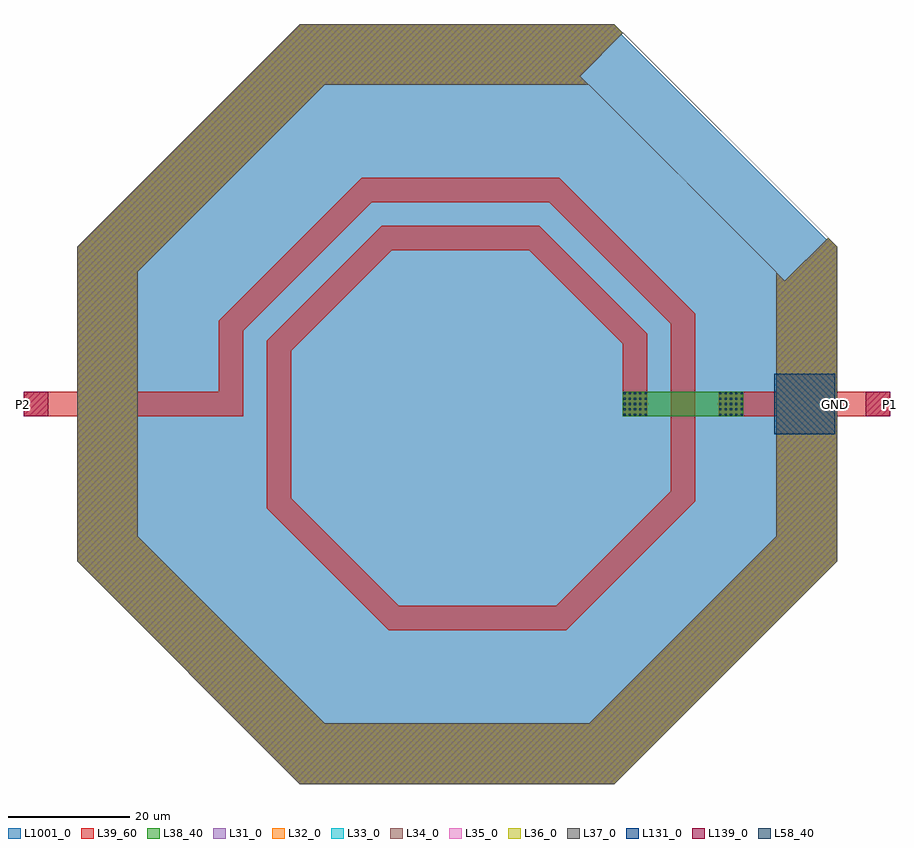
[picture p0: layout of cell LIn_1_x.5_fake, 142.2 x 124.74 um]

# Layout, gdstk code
import gdstk
lib = gdstk.Library(unit=1e-6, precision=1e-09)
def R(c, l, rs):  # rectangles x0, y0, x1, y1
    for r in rs: c.add(gdstk.rectangle(r[:2], r[2:], *l))
def A(c, l, x, y, w, h, nx, ny, dx, dy):  # array of equal rectangles
    R(c, l, [(x+i*dx, y+j*dy, x+i*dx+w, y+j*dy+h) for i in range(nx) for j in range(ny)])
def P(c, l, *ps):  # polygons
    for p in ps: c.add(gdstk.Polygon(p, *l))
L31_0 = (31, 0)
L32_0 = (32, 0)
L33_0 = (33, 0)
L34_0 = (34, 0)
L35_0 = (35, 0)
L36_0 = (36, 0)
L37_0 = (37, 0)
L38_40 = (38, 40)
L39_60 = (39, 60)
L58_40 = (58, 40)
L131_0 = (131, 0)
L139_0 = (139, 0)
L1001_0 = (1001, 0)

lin_1_x_5_fake = lib.new_cell('LIn_1_x.5_fake')
P(lin_1_x_5_fake, L31_0, [(53.836,20.228),(60.907,27.299),(25.835,62.371),(-25.835,62.371),(-62.371,25.835),(-62.371,-25.835),(-25.835,-62.371),(25.835,-62.371),(62.371,-25.835),(62.371,25.835),(27.299,60.907),(20.228,53.836),(52.371,21.693),(52.371,-21.693),(21.693,-52.371),(-21.693,-52.371),(-52.371,-21.693),(-52.371,21.693),(-21.693,52.371),(21.693,52.371)])
P(lin_1_x_5_fake, L32_0, [(53.836,20.228),(60.907,27.299),(25.835,62.371),(-25.835,62.371),(-62.371,25.835),(-62.371,-25.835),(-25.835,-62.371),(25.835,-62.371),(62.371,-25.835),(62.371,25.835),(27.299,60.907),(20.228,53.836),(52.371,21.693),(52.371,-21.693),(21.693,-52.371),(-21.693,-52.371),(-52.371,-21.693),(-52.371,21.693),(-21.693,52.371),(21.693,52.371)])
P(lin_1_x_5_fake, L33_0, [(53.836,20.228),(60.907,27.299),(25.835,62.371),(-25.835,62.371),(-62.371,25.835),(-62.371,-25.835),(-25.835,-62.371),(25.835,-62.371),(62.371,-25.835),(62.371,25.835),(27.299,60.907),(20.228,53.836),(52.371,21.693),(52.371,-21.693),(21.693,-52.371),(-21.693,-52.371),(-52.371,-21.693),(-52.371,21.693),(-21.693,52.371),(21.693,52.371)])
P(lin_1_x_5_fake, L34_0, [(53.836,20.228),(60.907,27.299),(25.835,62.371),(-25.835,62.371),(-62.371,25.835),(-62.371,-25.835),(-25.835,-62.371),(25.835,-62.371),(62.371,-25.835),(62.371,25.835),(27.299,60.907),(20.228,53.836),(52.371,21.693),(52.371,-21.693),(21.693,-52.371),(-21.693,-52.371),(-52.371,-21.693),(-52.371,21.693),(-21.693,52.371),(21.693,52.371)])
P(lin_1_x_5_fake, L35_0, [(53.836,20.228),(60.907,27.299),(25.835,62.371),(-25.835,62.371),(-62.371,25.835),(-62.371,-25.835),(-25.835,-62.371),(25.835,-62.371),(62.371,-25.835),(62.371,25.835),(27.299,60.907),(20.228,53.836),(52.371,21.693),(52.371,-21.693),(21.693,-52.371),(-21.693,-52.371),(-52.371,-21.693),(-52.371,21.693),(-21.693,52.371),(21.693,52.371)])
P(lin_1_x_5_fake, L36_0, [(53.836,20.228),(60.907,27.299),(25.835,62.371),(-25.835,62.371),(-62.371,25.835),(-62.371,-25.835),(-25.835,-62.371),(25.835,-62.371),(62.371,-25.835),(62.371,25.835),(27.299,60.907),(20.228,53.836),(52.371,21.693),(52.371,-21.693),(21.693,-52.371),(-21.693,-52.371),(-52.371,-21.693),(-52.371,21.693),(-21.693,52.371),(21.693,52.371)])
P(lin_1_x_5_fake, L37_0, [(53.836,20.228),(60.907,27.299),(25.835,62.371),(-25.835,62.371),(-62.371,25.835),(-62.371,-25.835),(-25.835,-62.371),(25.835,-62.371),(62.371,-25.835),(62.371,25.835),(27.299,60.907),(20.228,53.836),(52.371,21.693),(52.371,-21.693),(21.693,-52.371),(-21.693,-52.371),(-52.371,-21.693),(-52.371,21.693),(-21.693,52.371),(21.693,52.371)])
R(lin_1_x_5_fake, L38_40, [(27.225,-2,46.975,2)])
P(lin_1_x_5_fake, L38_40, [(53.836,20.228),(60.907,27.299),(25.835,62.371),(-25.835,62.371),(-62.371,25.835),(-62.371,-25.835),(-25.835,-62.371),(25.835,-62.371),(62.371,-25.835),(62.371,25.835),(27.299,60.907),(20.228,53.836),(52.371,21.693),(52.371,-21.693),(21.693,-52.371),(-21.693,-52.371),(-52.371,-21.693),(-52.371,21.693),(-21.693,52.371),(21.693,52.371)])
R(lin_1_x_5_fake, L39_60, [(-71.1,-2,-35.1,2), (42.975,-2,71.1,2)])
P(lin_1_x_5_fake, L39_60, [(27.225,-2),(31.225,-2),(31.225,11.544),(13.508,29.255),(-12.358,29.255),(-31.225,10.388),(-31.225,-17.108),(-11.203,-37.13),(17.923,-37.13),(39.1,-15.959),(39.1,14.803),(16.773,37.13),(-15.618,37.13),(-39.1,13.648),(-39.1,0),(-35.1,0),(-35.1,11.992),(-13.962,33.13),(15.117,33.13),(35.1,13.147),(35.1,-14.301),(16.267,-33.13),(-9.547,-33.13),(-27.225,-15.452),(-27.225,8.732),(-10.702,25.255),(11.852,25.255),(27.225,9.886)],
  [(53.836,20.228),(60.907,27.299),(25.835,62.371),(-25.835,62.371),(-62.371,25.835),(-62.371,-25.835),(-25.835,-62.371),(25.835,-62.371),(62.371,-25.835),(62.371,25.835),(27.299,60.907),(20.228,53.836),(52.371,21.693),(52.371,-21.693),(21.693,-52.371),(-21.693,-52.371),(-52.371,-21.693),(-52.371,21.693),(-21.693,52.371),(21.693,52.371)])
A(lin_1_x_5_fake, L58_40, 27.308, -1.915, 0.35, 0.35, 5, 5, 0.87, 0.87)
A(lin_1_x_5_fake, L58_40, 43.058, -1.915, 0.35, 0.35, 5, 5, 0.87, 0.87)
R(lin_1_x_5_fake, L131_0, [(52.1,-5,62.1,5)])
R(lin_1_x_5_fake, L139_0, [(-71.1,-2,-67.1,2), (67.1,-2,71.1,2)])
P(lin_1_x_5_fake, L1001_0, [(61.991,25.677),(25.677,61.991),(-25.677,61.991),(-61.991,25.677),(-61.991,-25.677),(-25.677,-61.991),(25.677,-61.991),(61.991,-25.677)],
  [(61.991,25.677),(25.677,61.991),(-25.677,61.991),(-61.991,25.677),(-61.991,-25.677),(-25.677,-61.991),(25.677,-61.991),(61.991,-25.677)],
  [(61.991,25.677),(25.677,61.991),(-25.677,61.991),(-61.991,25.677),(-61.991,-25.677),(-25.677,-61.991),(25.677,-61.991),(61.991,-25.677)],
  [(61.991,25.677),(25.677,61.991),(-25.677,61.991),(-61.991,25.677),(-61.991,-25.677),(-25.677,-61.991),(25.677,-61.991),(61.991,-25.677)],
  [(61.991,25.677),(25.677,61.991),(-25.677,61.991),(-61.991,25.677),(-61.991,-25.677),(-25.677,-61.991),(25.677,-61.991),(61.991,-25.677)],
  [(61.991,25.677),(25.677,61.991),(-25.677,61.991),(-61.991,25.677),(-61.991,-25.677),(-25.677,-61.991),(25.677,-61.991),(61.991,-25.677)],
  [(61.991,25.677),(25.677,61.991),(-25.677,61.991),(-61.991,25.677),(-61.991,-25.677),(-25.677,-61.991),(25.677,-61.991),(61.991,-25.677)],
  [(61.991,25.677),(25.677,61.991),(-25.677,61.991),(-61.991,25.677),(-61.991,-25.677),(-25.677,-61.991),(25.677,-61.991),(61.991,-25.677)],
  [(61.991,25.677),(25.677,61.991),(-25.677,61.991),(-61.991,25.677),(-61.991,-25.677),(-25.677,-61.991),(25.677,-61.991),(61.991,-25.677)])
lin_1_x_5_fake.add(gdstk.Label('P1', (71.098,0), layer=139, texttype=0))
lin_1_x_5_fake.add(gdstk.Label('P2', (-71.098,0), layer=139, texttype=0))
lin_1_x_5_fake.add(gdstk.Label('GND', (62.098,0), layer=131, texttype=0))

lib.write_gds('LIn_1_x.5_fake.gds')
